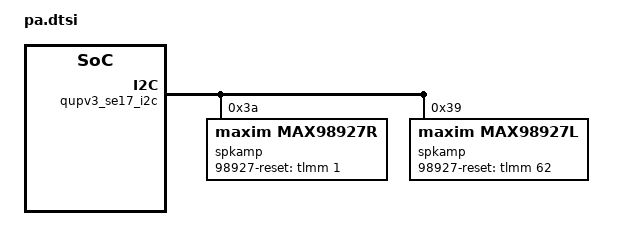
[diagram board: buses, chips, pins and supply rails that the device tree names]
&qupv3_se17_i2c {
    status = "ok";
	
	#address-cells = <1>;
	#size-cells = <0>;	
	
	spkamp@3a {/* max98927 smartpa device*/
		compatible = "maxim,max98927R";
		status = "ok";
		reg = <0x3a>;
		mono_stereo_mode = <3>;
		interleave_mode = <1>;
		maxim,98927-reset-gpio = <&tlmm 1 0x00>;
	};
	
	spkamp@39 {/* max98927 smartpa device*/
		compatible = "maxim,max98927L";
		status = "ok";
		reg = <0x39>;
		mono_stereo_mode = <3>;
		interleave_mode = <1>;
		maxim,98927-reset-gpio = <&tlmm 62 0x00>;
	};
};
